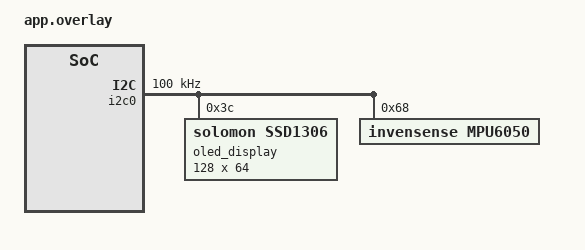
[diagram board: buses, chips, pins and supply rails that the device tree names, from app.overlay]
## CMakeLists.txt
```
#
# Copyright (c) 2019 Nordic Semiconductor ASA
#
# SPDX-License-Identifier: Apache-2.0
#

cmake_minimum_required(VERSION 3.20.0)
find_package(Zephyr REQUIRED HINTS $ENV{ZEPHYR_BASE})
project(SelfBalanceRobot)

file(GLOB_RECURSE app_sources src/*.c)
target_sources(app PRIVATE ${app_sources})
```

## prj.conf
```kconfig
#
# Copyright (c) 2019 Nordic Semiconductor ASA
#
# SPDX-License-Identifier: Apache-2.0
#

CONFIG_I2C=y
CONFIG_SENSOR=y
CONFIG_MPU6050_TRIGGER_NONE=y
CONFIG_CBPRINTF_FP_SUPPORT=y

CONFIG_STDOUT_CONSOLE=y
CONFIG_PRINTK=y
CONFIG_PWM=y

CONFIG_INPUT=y
CONFIG_LOG=y
CONFIG_SHELL=y

CONFIG_THREAD_NAME=y
CONFIG_THREAD_MONITOR=y

CONFIG_THREAD_RUNTIME_STATS=y
CONFIG_THREAD_RUNTIME_STATS_USE_TIMING_FUNCTIONS=y

# --- Enable networking stack ---
CONFIG_NETWORKING=y
CONFIG_NET_L2_ETHERNET=y
CONFIG_NET_LOG=y
CONFIG_NET_SHELL=y

# --- Configure IPV4 and DHCP ---
CONFIG_NET_IPV4=y
CONFIG_NET_DHCPV4=y
CONFIG_NET_TCP=y
CONFIG_NET_SOCKETS=y

# --- Enable WiFi ---
CONFIG_WIFI=y
CONFIG_WIFI_ESP32=y
CONFIG_NET_L2_WIFI_SHELL=y
CONFIG_SHELL_BACKEND_SERIAL=y
CONFIG_WIFI_SAMPLE_DHCPV4_START=y
CONFIG_WIFI_SAMPLE_AP_SSID="self_robot"
CONFIG_WIFI_SAMPLE_AP_IP_ADDRESS="192.168.55.1"
CONFIG_WIFI_SAMPLE_AP_PSK="12345678"
CONFIG_WIFI_SAMPLE_AP_NETMASK="255.255.255.0"
CONFIG_WIFI_SAMPLE_SSID="thuy_trang_xinh_dep"
CONFIG_WIFI_SAMPLE_PSK="ffffffff"

# Wi-Fi Configuration
#CONFIG_WIFI_NM=y
#CONFIG_WIFI_USAGE_MODE_STA_AP=y

# Network Configuration
CONFIG_NET_CONFIG_AUTO_INIT=n
CONFIG_NET_CONNECTION_MANAGER=y
#CONFIG_NET_DHCPV4_SERVER=y
CONFIG_NET_IF_MAX_IPV4_COUNT=2
CONFIG_NET_IF_MAX_IPV6_COUNT=2
CONFIG_NET_L2_WIFI_MGMT=y
CONFIG_NET_MGMT=y
CONFIG_NET_MGMT_EVENT=y
CONFIG_NET_MGMT_EVENT_INFO=y
CONFIG_NET_MGMT_EVENT_QUEUE_SIZE=10
CONFIG_NET_MGMT_EVENT_STACK_SIZE=4096
CONFIG_NET_PKT_RX_COUNT=16
CONFIG_NET_PKT_TX_COUNT=16
CONFIG_NET_SOCKETS_SERVICE_STACK_SIZE=4096
CONFIG_NET_UDP=y

# LOG Configuration
CONFIG_NET_DHCPV4_SERVER_LOG_LEVEL_DBG=y

# enable to use thread names
CONFIG_THREAD_NAME=y

CONFIG_POSIX_API=y

CONFIG_COUNTER=y
CONFIG_COUNTER_TMR_ESP32=y
```

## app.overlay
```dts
&pinctrl {
    i2c0_custom: i2c0_custom {
        group1 {
            pinmux = <I2C0_SDA_GPIO8>,
                     <I2C0_SCL_GPIO9>;
            bias-pull-up;
            drive-open-drain;
            output-high;
        };
    };
};


&i2c0 {
    status = "okay";
    pinctrl-0 = <&i2c0_custom>;
    pinctrl-names = "default";
    clock-frequency = <I2C_BITRATE_STANDARD>;

    oled_display: ssd1306@3c {
        compatible = "solomon,ssd1306";
        reg = <0x3c>;
        status = "okay";
        width = <128>;
        height = <64>;
        segment-offset = <0>;
        page-offset = <0>;
        display-offset = <0>;
        multiplex-ratio = <63>;
        segment-remap;
        com-invdir;
        prechargep = <0x22>;
        softreset-on;
        ready-time-ms = <100>;
    };

    mpu6050: mpu6050@68 {
        compatible = "invensense,mpu6050";
        reg = <0x68>;
        status = "okay";
        smplrt-div = <249>;
        /* optional if you use interrupt:
        int-gpios = <&gpio0 11 GPIO_ACTIVE_HIGH>;
        */
    };
};


/ {
    chosen {
        zephyr,display = &oled_display;
    };
};
```

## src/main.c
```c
/*
 * Copyright (c) 2016 Intel Corporation
 * Copyright (c) 2020 Nordic Semiconductor ASA
 *
 * SPDX-License-Identifier: Apache-2.0
 */

/**
 * @file Sample app to demonstrate PWM.
 */

#include <zephyr/kernel.h>
#include <zephyr/sys/printk.h>
#include <zephyr/device.h>
#include <zephyr/drivers/counter.h>
#include "controller/controller.h"
#include "wifi_connect/wifi_setup.h"
#include "wifi_connect/net_sample_common.h"
#include "tcp_server/tcp_server.h"
#include "drivers/motor/motor.h"
#include "common/defines.h"
#include "controller/controller.h"

/* size of stack area used by each thread */
#define STACKSIZE 2048

/* scheduling priority used by each thread */
#define PRIORITY_WIFI 7
#define PRIORITY_CONTROLLER -20
#define PRIORITY_LOG 6
#define SAMPLE_TIMER DT_INST(0, espressif_esp32_counter)

K_MSGQ_DEFINE(log_msgq, sizeof(RobotData_t), 1, 1);

K_THREAD_STACK_DEFINE(thread_init_wifi_stack_area, STACKSIZE);
K_THREAD_STACK_DEFINE(robot_controller_stack_area, STACKSIZE);
K_THREAD_STACK_DEFINE(log_thread_stack_area, STACKSIZE);

static struct k_thread thread_init_wifi_data;
static struct k_thread robot_controller_thread_data;
static struct k_thread log_thread_data;


void thread_init_wifi(void *dummy1, void *dummy2, void *dummy3)
{
    int retry_count = 0;
    const int max_retries = 5;
    k_sleep(K_SECONDS(5));

    init_wifi();
	connect_to_wifi();

    wait_for_network();
    k_sleep(K_SECONDS(3));
    tcp_server_start();
}

void thread_robot_controller(void *dummy1, void *dummy2, void *dummy3)
{
    controller_update();
}

void thread_print_robot_data(void *dummy1, void *dummy2, void *dummy3)
{
    print_robot_data();
}

#define DELAY 10000
#define ALARM_CHANNEL_ID 0
#define ALARM_FLAGS 0

K_SEM_DEFINE(alarm_sem, 0, 1);
struct counter_alarm_cfg alarm_cfg;

static void test_counter_interrupt_fn(const struct device *counter_dev,
				      uint8_t chan_id, uint32_t ticks,
				      void *user_data)
{
    static uint32_t now_ticks = 0;
    now_ticks++;
    k_sem_give(&alarm_sem);
    //printk("Alarm triggered: %u ticks\n", now_ticks);
    //reset the alarm for the next interval
    //alarm_cfg.ticks = counter_us_to_ticks(counter_dev, DELAY);
    int err = counter_set_channel_alarm(counter_dev, ALARM_CHANNEL_ID,
                    &alarm_cfg);
}

int timer_init(void)
{
	const struct device *const counter_dev = DEVICE_DT_GET(SAMPLE_TIMER);
	int err;

	printk("Counter alarm sample\n\n");

	if (!device_is_ready(counter_dev)) {
		printk("device not ready.\n");
		return 0;
	}

	counter_start(counter_dev);

	alarm_cfg.flags = ALARM_FLAGS;
	alarm_cfg.ticks = counter_us_to_ticks(counter_dev, DELAY);
	alarm_cfg.callback = test_counter_interrupt_fn;
	alarm_cfg.user_data = &alarm_cfg;

	err = counter_set_channel_alarm(counter_dev, ALARM_CHANNEL_ID,
					&alarm_cfg);
	printk("Set alarm in %u sec (%u ticks)\n",
	       (uint32_t)(counter_ticks_to_us(counter_dev,
					   alarm_cfg.ticks) / USEC_PER_SEC),
	       alarm_cfg.ticks);

	if (-EINVAL == err) {
		printk("Alarm settings invalid\n");
	} else if (-ENOTSUP == err) {
		printk("Alarm setting request not supported\n");
	} else if (err != 0) {
		printk("Error\n");
	}
}

int main(void)
{
    printk("Self Balance Robot\n");
    timer_init();

    k_mutex_init(&pid_mutex);

    k_thread_create(&thread_init_wifi_data, thread_init_wifi_stack_area,
                    K_THREAD_STACK_SIZEOF(thread_init_wifi_stack_area),
                    thread_init_wifi, NULL, NULL, NULL,
                    PRIORITY_WIFI, 0, K_NO_WAIT);

    k_thread_create(&robot_controller_thread_data, robot_controller_stack_area,
                    K_THREAD_STACK_SIZEOF(robot_controller_stack_area),
                    thread_robot_controller, NULL, NULL, NULL,
                    PRIORITY_CONTROLLER, 0, K_NO_WAIT);
    
    k_thread_create(&log_thread_data, log_thread_stack_area,
                    K_THREAD_STACK_SIZEOF(log_thread_stack_area),
                    thread_print_robot_data, NULL, NULL, NULL,
                    PRIORITY_LOG, 0, K_NO_WAIT);
    return 0;
}
```
